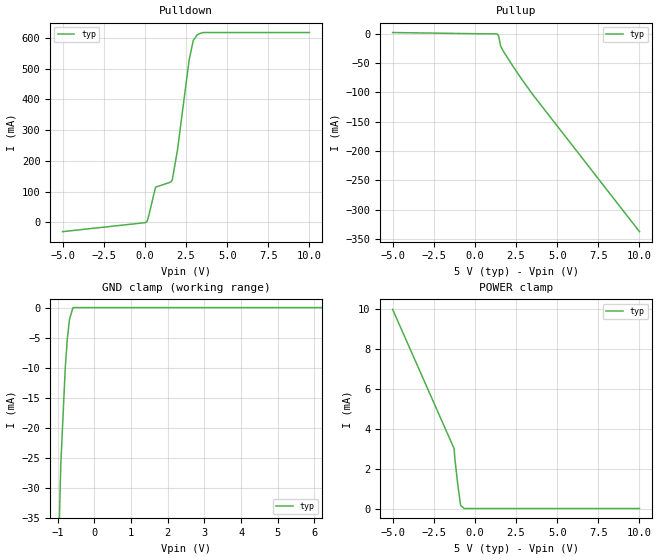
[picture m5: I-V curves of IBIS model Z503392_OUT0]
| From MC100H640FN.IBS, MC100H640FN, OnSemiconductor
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| (C) COPYRIGHT 1993-2000
| MENTOR GRAPHICS CORPORATION
| ICX STANDARD LIBRARY, ICX PROJECT MODELING,
| ICX CUSTOM MODELING, ICX VENDOR MODEL
| ALL RIGHTS RESERVED.
| THE FOLLOWING ARE TRADEMARKS OR SERVICE MARKS OF
| MENTOR GRAPHICS CORPORATION:ICX (R), ICX STANDARD
| LIBRARY(R), ICX PROJECT MODELING(R), ICX CUSTOM
| MODELING(R), qualityIBIS(TM), MODELVIEWER(TM),
| AND MODELEDITOR(TM)
| ALL COPIES OF SOFTWARE, INCLUDING BUT NOT LIMITED TO
| ANY MODIFICATIONS, ENHANCEMENTS OR DERIVATIVE WORKS,
| MUST CONTAIN ALL MENTOR GRAPHICS CORPORATION'S
| NOTICES AND LEGENDS, INCLUDING THOSE EMBEDDED IN
| SOFTWARE AND THOSE AFFIXED TO SOFTWARE MEDIUM
| AND CONTAINER, AS RECEIVED FROM MENTOR GRAPHICS
| CORPORATION.
| Model Application Version 1.89 2/18/99.
[Model] Z503392_OUT0
Model_type Output
Vref=0.000V
Rref=500.0Mohms
Cref=25.00pF
Vmeas=1.500V
C_comp 2.000pF NA NA
| variable typ   min   max
[Voltage Range] 5.000V NA NA
[POWER Clamp Reference] 5.000V NA NA
[Pullup Reference] 5.000V NA NA
[Pulldown Reference] 0.000V NA NA
[GND Clamp Reference] 0.000V NA NA
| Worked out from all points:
|   slope of the pulldown table from 0 to 0.75 V, typ, clamps not added: 6.38 ohm
|   slope of the pullup table from 0 to 0.75 V, typ, clamps not added: 3.38 kohm
|   GND clamp passes 1 mA (typ) near -0.63 V on its own axis
|   POWER clamp passes 1 mA (typ) near -1.01 V on its own axis
[GND Clamp]
-5V       -1.945A    NA         NA
-1.182V   -104.1mA   NA         NA
-1.07V    -63.1mA    NA         NA
-912.4mV  -25.93mA   NA         NA
-790.5mV  -9.902mA   NA         NA
-737.3mV  -5.343mA   NA         NA
-677.7mV  -1.979mA   NA         NA
-580.9mV  0A         NA         NA
10V       0A         NA         NA
[Pulldown]
-5V       -30.8mA    NA         NA
127.8mV   3.063mA    NA         NA
244.1mV   23.1mA     NA         NA
644.7mV   114mA      NA         NA
1.563V    130.5mA    NA         NA
1.659V    136.9mA    NA         NA
1.973V    232.9mA    NA         NA
2.686V    528mA      NA         NA
2.937V    592mA      NA         NA
3.174V    610mA      NA         NA
3.584V    618mA      NA         NA
10V       618mA      NA         NA
[Pullup]
-5V       2.08mA     NA         NA
1.382V    -1.018mA   NA         NA
1.455V    -5.606mA   NA         NA
1.56V     -20.67mA   NA         NA
1.748V    -30.81mA   NA         NA
2.908V    -80.16mA   NA         NA
3.501V    -103.2mA   NA         NA
10V       -337.6mA   NA         NA
[POWER Clamp]
-5V       9.991mA    NA         NA
-1.266V   3.009mA    NA         NA
-1.21V    2.444mA    NA         NA
-1.05V    1.269mA    NA         NA
-869mV    157.7uA    NA         NA
-651.7mV  0A         NA         NA
10V       0A         NA         NA
[Ramp]
| variable typ min max
dV/dt_r 2.076/2.547n NA NA
dV/dt_f 2.076/972.5p NA NA
R_load = 500.0Ohms
